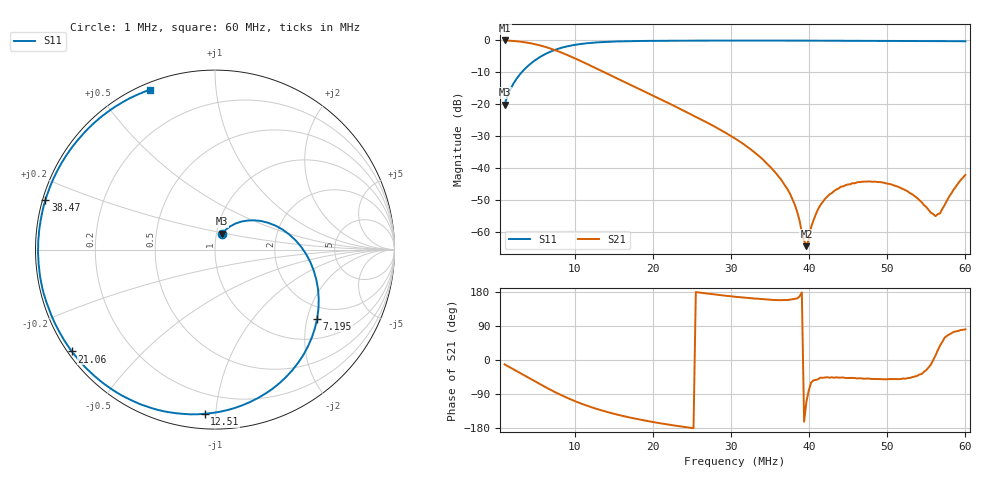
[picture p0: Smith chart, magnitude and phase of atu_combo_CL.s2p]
! S11/S21 from S-A-A-2 VNA
! Written 2026-11-14 07:47:07 by the saav2 MCP server
! S12 and S22 were not measured (1.5-port VNA) and are written as 0
# HZ S RI R 50
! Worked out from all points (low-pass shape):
!   201 points, 1 MHz to 60 MHz, reference 50 ohm
!   highest |S21| = -0.09 dB at 1 MHz (marker M1); lowest = -64.5 dB at 39.65 MHz (marker M2)
!   |S21| within 3 dB of the highest: start of sweep to 7.426 MHz
!   lowest |S11| = -20.2 dB at 1 MHz (marker M3), VSWR 1.22, Z = 53.3 + j9.64 ohm
!   |S11| at or under -10 dB: start of sweep to 3.209 MHz
!   S12 and S22 are empty: the file has one direction only
!   S11 on the Smith chart (normalised r, x): 1 MHz: 1.07, +0.19; 7.195 MHz: 1.59, -2.31; 12.51 MHz: 0.08, -0.94; 21.06 MHz: 0.01, -0.32; 38.47 MHz: 0.01, +0.14; 60 MHz: 0.03, +0.67
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1000000  0.0406 0.0895  0.9702 -0.198  0 0  0 0
2180000  0.1465 0.1561  0.8793 -0.412  0 0  0 0
3950000  0.3743 0.1131  0.637 -0.6522  0 0  0 0
5720000  0.5502 -0.1174  0.3331 -0.7459  0 0  0 0
7195000  0.5694 -0.3839  0.1 -0.7105  0 0  0 0
1.103e7  0.1526 -0.8673  -0.205 -0.4059  0 0  0 0
1.2505e7  -0.0576 -0.9145  -0.2259 -0.2972  0 0  0 0
1.634e7  -0.4954 -0.8249  -0.1894 -0.1158  0 0  0 0
2.0765e7  -0.7844 -0.5838  -0.1189 -0.0287  0 0  0 0
2.106e7  -0.7976 -0.5673  -0.1147 -0.0256  0 0  0 0
3.05e7  -0.9833 -0.0643  -0.0281 0.00657  0 0  0 0
3.581e7  -0.9697 0.1706  -0.00754 0.003  0 0  0 0
3.7285e7  -0.9574 0.2293  -0.00421 0.00167  0 0  0 0
3.8465e7  -0.9449 0.2754  -0.00195 0.000615  0 0  0 0
3.9645e7  -0.9307 0.3195  -0.000205 -0.000561  0 0  0 0
4.053e7  -0.9182 0.3521  0.000883 -0.00121  0 0  0 0
4.2005e7  -0.8955 0.4047  0.00226 -0.00236  0 0  0 0
4.407e7  -0.8586 0.475  0.0035 -0.00369  0 0  0 0
5.0265e7  -0.7156 0.6645  0.00359 -0.00433  0 0  0 0
5.3215e7  -0.6289 0.7435  0.00273 -0.00273  0 0  0 0
5.6165e7  -0.5259 0.815  0.00173 0.000353  0 0  0 0
6e7  -0.3601 0.8913  0.00123 0.00769  0 0  0 0
